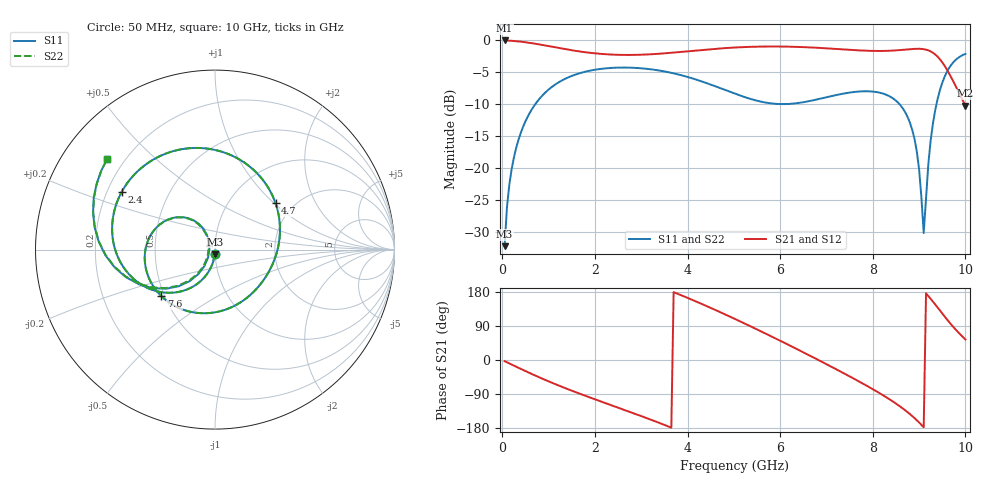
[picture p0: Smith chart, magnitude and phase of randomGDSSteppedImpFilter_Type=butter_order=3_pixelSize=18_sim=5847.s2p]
! freq	dB(S11)	phase(S11)	dB(S12)	phase(S12)
!  dB(S21)	phase(S21)	dB(S22)	phase(S22)
!S-par simulation data
#  GHz  S  DB  R 50
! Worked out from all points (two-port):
!   200 points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, 50 MHz to 10 GHz, reference 50 ohm
!   highest |S21| = -0.01 dB at 50 MHz (marker M1); lowest = -10.2 dB at 10 GHz (marker M2)
!   |S21| within 3 dB of the highest: start of sweep to 9.456 GHz
!   lowest |S11| = -32.1 dB at 50 MHz (marker M3), VSWR 1.05, Z = 49.8 - j2.46 ohm
!   |S11| at or under -10 dB: start of sweep to 708.5 MHz; 8.581 GHz to 9.375 GHz (793.3 MHz wide, 8.84 % of centre)
!   |S22| runs from -32.1 to -2.1 dB; largest |S21 - S12| = 0
!   S11 on the Smith chart (normalised r, x): 50 MHz: 1.00, -0.05; 2.4 GHz: 0.26, +0.27; 4.7 GHz: 1.62, +1.02; 7.6 GHz: 0.48, -0.30; 10 GHz: 0.14, +0.36
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0.05  -32.14 -93.1  -0.01 -3.0  -0.01 -3.0  -32.14 -93.1
0.1  -26.14 -96.2  -0.02 -6.0  -0.02 -6.0  -26.14 -96.2
0.2  -20.20 -102.3  -0.06 -11.9  -0.06 -11.9  -20.20 -102.3
0.5  -12.63 -119.8  -0.29 -29.3  -0.29 -29.3  -12.63 -119.9
1.1  -7.11 -152.0  -1.02 -61.5  -1.02 -61.5  -7.11 -152.1
1.75  -4.96 177.0  -1.80 -92.5  -1.80 -92.5  -4.96 177.0
2.4  -4.28 148.3  -2.22 -121.3  -2.22 -121.3  -4.28 148.2
3.4  -4.71 103.4  -2.07 -166.5  -2.07 -166.5  -4.71 103.3
4.05  -5.81 71.7  -1.66 161.4  -1.66 161.4  -5.81 71.5
4.7  -7.44 37.5  -1.25 126.6  -1.25 126.6  -7.44 37.3
5.05  -8.39 18.1  -1.10 106.8  -1.10 106.8  -8.39 17.9
5.8  -9.83 -25.1  -0.95 62.9  -0.95 62.9  -9.83 -25.5
6.7  -9.37 -80.4  -1.11 7.8  -1.11 7.8  -9.37 -80.7
7.6  -8.05 -139.1  -1.51 -49.8  -1.51 -49.8  -8.05 -139.1
8.35  -8.69 167.5  -1.62 -102.8  -1.62 -102.8  -8.68 167.7
8.85  -13.92 126.1  -1.34 -147.7  -1.34 -147.7  -13.90 126.8
9  -20.11 118.5  -1.31 -164.7  -1.31 -164.7  -20.01 120.3
9.1  -30.10 171.7  -1.37 -177.4  -1.37 -177.4  -29.10 172.4
9.25  -15.63 -124.2  -1.72 161.5  -1.72 161.5  -15.57 -125.7
9.4  -9.15 -141.3  -2.54 138.5  -2.54 138.5  -9.13 -142.1
9.7  -3.76 176.2  -5.86 92.7  -5.86 92.7  -3.75 175.8
10  -2.10 140.0  -10.20 54.0  -10.20 54.0  -2.10 139.8
